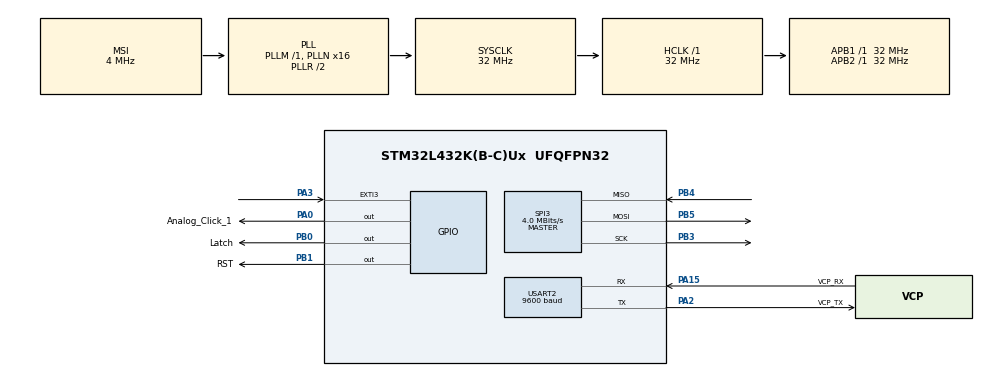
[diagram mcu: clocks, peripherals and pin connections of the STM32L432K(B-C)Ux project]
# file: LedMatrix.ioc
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Mcu.Family=STM32L4
Mcu.Name=STM32L432K(B-C)Ux
Mcu.Package=UFQFPN32
NVIC.EXTI3_IRQn=true\:0\:0\:false\:false\:true\:true\:true\:true
NVIC.PriorityGroup=NVIC_PRIORITYGROUP_4
NVIC.SPI3_IRQn=true\:2\:0\:true\:false\:true\:true\:true\:true
NVIC.TIM1_UP_TIM16_IRQn=true\:3\:0\:true\:false\:true\:true\:true\:true
NVIC.TIM6_DAC_IRQn=true\:1\:0\:true\:false\:true\:true\:true\:true
NVIC.TIM7_IRQn=true\:0\:0\:false\:false\:true\:true\:true\:true
NVIC.USART2_IRQn=true\:0\:0\:false\:false\:true\:true\:true\:true
PA0.GPIO_Label=Analog_Click_1
PA0.Signal=GPIO_Output
PA13\ (JTMS-SWDIO).GPIO_Label=SWDIO
PA13\ (JTMS-SWDIO).Mode=Serial_Wire
PA13\ (JTMS-SWDIO).Signal=SYS_JTMS-SWDIO
PA14\ (JTCK-SWCLK).GPIO_Label=SWCLK
PA14\ (JTCK-SWCLK).Mode=Serial_Wire
PA14\ (JTCK-SWCLK).Signal=SYS_JTCK-SWCLK
PA15\ (JTDI).GPIO_Label=VCP_RX
PA15\ (JTDI).Mode=Asynchronous
PA15\ (JTDI).Signal=USART2_RX
PA2.GPIO_Label=VCP_TX
PA2.Mode=Asynchronous
PA2.Signal=USART2_TX
PA3.GPIO_ModeDefaultEXTI=GPIO_MODE_IT_FALLING
PA3.Signal=GPXTI3
PB0.GPIO_Label=Latch
PB0.Signal=GPIO_Output
PB1.GPIO_Label=RST
PB1.Signal=GPIO_Output
PB3\ (JTDO-TRACESWO).Mode=Full_Duplex_Master
PB3\ (JTDO-TRACESWO).Signal=SPI3_SCK
PB4\ (NJTRST).Mode=Full_Duplex_Master
PB4\ (NJTRST).Signal=SPI3_MISO
PB5.Mode=Full_Duplex_Master
PB5.Signal=SPI3_MOSI
PC14-OSC32_IN\ (PC14).Mode=LSE-External-Oscillator
PC14-OSC32_IN\ (PC14).Signal=RCC_OSC32_IN
PC15-OSC32_OUT\ (PC15).Mode=LSE-External-Oscillator
PC15-OSC32_OUT\ (PC15).Signal=RCC_OSC32_OUT
ProjectManager.HeapSize=0x200
ProjectManager.StackSize=0x400
ProjectManager.TargetToolchain=STM32CubeIDE
RCC.AHBFreq_Value=32000000
RCC.APB1Freq_Value=32000000
RCC.APB1TimFreq_Value=32000000
RCC.APB2Freq_Value=32000000
RCC.APB2TimFreq_Value=32000000
RCC.CortexFreq_Value=32000000
RCC.HCLKFreq_Value=32000000
RCC.HSE_VALUE=8000000
RCC.HSI16_VALUE=16000000
RCC.HSI48_VALUE=48000000
RCC.HSI_VALUE=16000000
RCC.MSI_VALUE=4000000
RCC.PLLMUL=RCC_PLLMUL_4
RCC.PLLN=16
RCC.SYSCLKFreq_VALUE=32000000
RCC.SYSCLKSource=RCC_SYSCLKSOURCE_PLLCLK
RCC.VCOOutputFreq_Value=64000000
SPI3.BaudRatePrescaler=SPI_BAUDRATEPRESCALER_8
SPI3.CalculateBaudRate=4.0 MBits/s
SPI3.DataSize=SPI_DATASIZE_8BIT
SPI3.Direction=SPI_DIRECTION_2LINES
SPI3.Mode=SPI_MODE_MASTER
SPI3.VirtualType=VM_MASTER
TIM16.AutoReloadPreload=TIM_AUTORELOAD_PRELOAD_ENABLE
TIM16.Period=45714-1
TIM6.AutoReloadPreload=TIM_AUTORELOAD_PRELOAD_ENABLE
TIM6.Period=64000-1
TIM6.Prescaler=32-1
TIM7.AutoReloadPreload=TIM_AUTORELOAD_PRELOAD_ENABLE
TIM7.Period=64000-1
TIM7.Prescaler=1500
USART2.BaudRate=9600
USART2.VirtualMode-Asynchronous=VM_ASYNC
VP_TIM16_VS_ClockSourceINT.Mode=Enable_Timer
VP_TIM6_VS_ClockSourceINT.Mode=Enable_Timer
VP_TIM7_VS_ClockSourceINT.Mode=Enable_Timer
board=NUCLEO-L432KC

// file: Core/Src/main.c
/* USER CODE BEGIN Header */
/**
  ******************************************************************************
  * @file           : main.c
  * @brief          : Main program body
  ******************************************************************************
  * @attention
  *
  * Copyright (c) 2022 STMicroelectronics.
  * All rights reserved.
  *
  * This software is licensed under terms that can be found in the LICENSE file
  * in the root directory of this software component.
  * If no LICENSE file comes with this software, it is provided AS-IS.
  *
  ******************************************************************************
  */
/* USER CODE END Header */
#include "main.h"

/* USER CODE BEGIN Includes */

#include "ledFunctions.h"
/* USER CODE END Includes */

SPI_HandleTypeDef hspi3;

TIM_HandleTypeDef htim6;
TIM_HandleTypeDef htim7;
TIM_HandleTypeDef htim16;

UART_HandleTypeDef huart2;

/* USER CODE BEGIN PV */
//Inputbuffer
	uint8_t inputBuff[2];
	//Bufferlänge
	char text[200]="Enter text: ";
	//Eingabelänge Initialtext:
	int WordLen =12;
	//aktueller Index den der UART beschreibt:
	int wordIndex =0;

//Variables for Display
	//aktuell darzustellende Reihe
	int currentRow =0;
	//aktuelle Position der dargestellten Chars (wegen Laufschrift)
	int displayOffset=0;
	// enthält die Bitfolge für die Darstellung (inklusive Bitshifts)
	char displayOutput[3];
	//Index des aktuell darzustellenden ersten Buchstabens
	int letters=0;

//Variable debug mode
	int debugMode=1;
/* USER CODE END PV */

void SystemClock_Config(void);
static void MX_GPIO_Init(void);
static void MX_USART2_UART_Init(void);
static void MX_SPI3_Init(void);
static void MX_TIM16_Init(void);
static void MX_TIM6_Init(void);
static void MX_TIM7_Init(void);

int main(void)
{

  /* MCU Configuration--------------------------------------------------------*/

  /* Reset of all peripherals, Initializes the Flash interface and the Systick. */
  HAL_Init();

  /* USER CODE BEGIN Init */
/*  HAL_GPIO_WritePin(RST_GPIO_Port, RST_Pin, GPIO_PIN_SET);
 					 HAL_GPIO_WritePin(RST_GPIO_Port, RST_Pin, GPIO_PIN_RESET);
*/
  /* USER CODE END Init */

  /* Configure the system clock */
  SystemClock_Config();

  /* Initialize all configured peripherals */
  MX_GPIO_Init();
  MX_USART2_UART_Init();
  MX_SPI3_Init();
  MX_TIM16_Init();
  MX_TIM6_Init();
  MX_TIM7_Init();
  /* USER CODE BEGIN 2 */

  HAL_UART_Receive_IT(&huart2, inputBuff, 1);

  //Timer16 vorbereiten und starten, Timer ist so gesetzt, dass er mit ca 700Hz die Reihendarstellung updated
  //was zu einer effektiven Updaterate des Displays von 100Hz führt
  TIM16->EGR=1;
  __HAL_TIM_CLEAR_FLAG(&htim16,TIM_FLAG_UPDATE);

  HAL_TIM_Base_Start_IT(&htim16);

  //Timer6 starten, Timer iteriert Offset bzw. Buchstabenindex für Laufschriftdarstellung
  TIM6->EGR=1;
  		  __HAL_TIM_CLEAR_FLAG(&htim6,TIM_FLAG_UPDATE);

  HAL_TIM_Base_Start_IT(&htim6);

  /* USER CODE END 2 */

  /* Infinite loop */
  while (1)
  {

  }
}

void SystemClock_Config(void)
{
  RCC_OscInitTypeDef RCC_OscInitStruct = {0};
  RCC_ClkInitTypeDef RCC_ClkInitStruct = {0};

  /** Configure the main internal regulator output voltage
  */
  if (HAL_PWREx_ControlVoltageScaling(PWR_REGULATOR_VOLTAGE_SCALE1) != HAL_OK)
  {
    Error_Handler();
  }

  /** Configure LSE Drive Capability
  */
  HAL_PWR_EnableBkUpAccess();
  __HAL_RCC_LSEDRIVE_CONFIG(RCC_LSEDRIVE_LOW);

  /** Initializes the RCC Oscillators according to the specified parameters
  * in the RCC_OscInitTypeDef structure.
  */
  RCC_OscInitStruct.OscillatorType = RCC_OSCILLATORTYPE_LSE|RCC_OSCILLATORTYPE_MSI;
  RCC_OscInitStruct.LSEState = RCC_LSE_ON;
  RCC_OscInitStruct.MSIState = RCC_MSI_ON;
  RCC_OscInitStruct.MSICalibrationValue = 0;
  RCC_OscInitStruct.MSIClockRange = RCC_MSIRANGE_6;
  RCC_OscInitStruct.PLL.PLLState = RCC_PLL_ON;
  RCC_OscInitStruct.PLL.PLLSource = RCC_PLLSOURCE_MSI;
  RCC_OscInitStruct.PLL.PLLM = 1;
  RCC_OscInitStruct.PLL.PLLN = 16;
  RCC_OscInitStruct.PLL.PLLP = RCC_PLLP_DIV7;
  RCC_OscInitStruct.PLL.PLLQ = RCC_PLLQ_DIV2;
  RCC_OscInitStruct.PLL.PLLR = RCC_PLLR_DIV2;
  if (HAL_RCC_OscConfig(&RCC_OscInitStruct) != HAL_OK)
  {
    Error_Handler();
  }

  /** Initializes the CPU, AHB and APB buses clocks
  */
  RCC_ClkInitStruct.ClockType = RCC_CLOCKTYPE_HCLK|RCC_CLOCKTYPE_SYSCLK
                              |RCC_CLOCKTYPE_PCLK1|RCC_CLOCKTYPE_PCLK2;
  RCC_ClkInitStruct.SYSCLKSource = RCC_SYSCLKSOURCE_PLLCLK;
  RCC_ClkInitStruct.AHBCLKDivider = RCC_SYSCLK_DIV1;
  RCC_ClkInitStruct.APB1CLKDivider = RCC_HCLK_DIV1;
  RCC_ClkInitStruct.APB2CLKDivider = RCC_HCLK_DIV1;

  if (HAL_RCC_ClockConfig(&RCC_ClkInitStruct, FLASH_LATENCY_1) != HAL_OK)
  {
    Error_Handler();
  }

  /** Enable MSI Auto calibration
  */
  HAL_RCCEx_EnableMSIPLLMode();
}

static void MX_SPI3_Init(void)
{

  /* SPI3 parameter configuration*/
  hspi3.Instance = SPI3;
  hspi3.Init.Mode = SPI_MODE_MASTER;
  hspi3.Init.Direction = SPI_DIRECTION_2LINES;
  hspi3.Init.DataSize = SPI_DATASIZE_8BIT;
  hspi3.Init.CLKPolarity = SPI_POLARITY_LOW;
  hspi3.Init.CLKPhase = SPI_PHASE_1EDGE;
  hspi3.Init.NSS = SPI_NSS_SOFT;
  hspi3.Init.BaudRatePrescaler = SPI_BAUDRATEPRESCALER_8;
  hspi3.Init.FirstBit = SPI_FIRSTBIT_MSB;
  hspi3.Init.TIMode = SPI_TIMODE_DISABLE;
  hspi3.Init.CRCCalculation = SPI_CRCCALCULATION_DISABLE;
  hspi3.Init.CRCPolynomial = 7;
  hspi3.Init.CRCLength = SPI_CRC_LENGTH_DATASIZE;
  hspi3.Init.NSSPMode = SPI_NSS_PULSE_ENABLE;
  if (HAL_SPI_Init(&hspi3) != HAL_OK)
  {
    Error_Handler();
  }

}

static void MX_TIM6_Init(void)
{

  TIM_MasterConfigTypeDef sMasterConfig = {0};

  htim6.Instance = TIM6;
  htim6.Init.Prescaler = 32-1;
  htim6.Init.CounterMode = TIM_COUNTERMODE_UP;
  htim6.Init.Period = 64000-1;
  htim6.Init.AutoReloadPreload = TIM_AUTORELOAD_PRELOAD_ENABLE;
  if (HAL_TIM_Base_Init(&htim6) != HAL_OK)
  {
    Error_Handler();
  }
  sMasterConfig.MasterOutputTrigger = TIM_TRGO_RESET;
  sMasterConfig.MasterSlaveMode = TIM_MASTERSLAVEMODE_DISABLE;
  if (HAL_TIMEx_MasterConfigSynchronization(&htim6, &sMasterConfig) != HAL_OK)
  {
    Error_Handler();
  }

}

static void MX_TIM7_Init(void)
{

  TIM_MasterConfigTypeDef sMasterConfig = {0};

  htim7.Instance = TIM7;
  htim7.Init.Prescaler = 1500;
  htim7.Init.CounterMode = TIM_COUNTERMODE_UP;
  htim7.Init.Period = 64000-1;
  htim7.Init.AutoReloadPreload = TIM_AUTORELOAD_PRELOAD_ENABLE;
  if (HAL_TIM_Base_Init(&htim7) != HAL_OK)
  {
    Error_Handler();
  }
  sMasterConfig.MasterOutputTrigger = TIM_TRGO_RESET;
  sMasterConfig.MasterSlaveMode = TIM_MASTERSLAVEMODE_DISABLE;
  if (HAL_TIMEx_MasterConfigSynchronization(&htim7, &sMasterConfig) != HAL_OK)
  {
    Error_Handler();
  }

}

static void MX_TIM16_Init(void)
{

  htim16.Instance = TIM16;
  htim16.Init.Prescaler = 0;
  htim16.Init.CounterMode = TIM_COUNTERMODE_UP;
  htim16.Init.Period = 45714-1;
  htim16.Init.ClockDivision = TIM_CLOCKDIVISION_DIV1;
  htim16.Init.RepetitionCounter = 0;
  htim16.Init.AutoReloadPreload = TIM_AUTORELOAD_PRELOAD_ENABLE;
  if (HAL_TIM_Base_Init(&htim16) != HAL_OK)
  {
    Error_Handler();
  }

}

static void MX_USART2_UART_Init(void)
{

  huart2.Instance = USART2;
  huart2.Init.BaudRate = 9600;
  huart2.Init.WordLength = UART_WORDLENGTH_8B;
  huart2.Init.StopBits = UART_STOPBITS_1;
  huart2.Init.Parity = UART_PARITY_NONE;
  huart2.Init.Mode = UART_MODE_TX_RX;
  huart2.Init.HwFlowCtl = UART_HWCONTROL_NONE;
  huart2.Init.OverSampling = UART_OVERSAMPLING_16;
  huart2.Init.OneBitSampling = UART_ONE_BIT_SAMPLE_DISABLE;
  huart2.AdvancedInit.AdvFeatureInit = UART_ADVFEATURE_NO_INIT;
  if (HAL_UART_Init(&huart2) != HAL_OK)
  {
    Error_Handler();
  }

}

static void MX_GPIO_Init(void)
{
  GPIO_InitTypeDef GPIO_InitStruct = {0};

  /* GPIO Ports Clock Enable */
  __HAL_RCC_GPIOC_CLK_ENABLE();
  __HAL_RCC_GPIOA_CLK_ENABLE();
  __HAL_RCC_GPIOB_CLK_ENABLE();

  /*Configure GPIO pin Output Level */
  HAL_GPIO_WritePin(Analog_Click_1_GPIO_Port, Analog_Click_1_Pin, GPIO_PIN_RESET);

  /*Configure GPIO pin Output Level */
  HAL_GPIO_WritePin(GPIOB, Latch_Pin|RST_Pin, GPIO_PIN_RESET);

  /*Configure GPIO pin : Analog_Click_1_Pin */
  GPIO_InitStruct.Pin = Analog_Click_1_Pin;
  GPIO_InitStruct.Mode = GPIO_MODE_OUTPUT_PP;
  GPIO_InitStruct.Pull = GPIO_NOPULL;
  GPIO_InitStruct.Speed = GPIO_SPEED_FREQ_LOW;
  HAL_GPIO_Init(Analog_Click_1_GPIO_Port, &GPIO_InitStruct);

  /*Configure GPIO pin : PA3 */
  GPIO_InitStruct.Pin = GPIO_PIN_3;
  GPIO_InitStruct.Mode = GPIO_MODE_IT_FALLING;
  GPIO_InitStruct.Pull = GPIO_NOPULL;
  HAL_GPIO_Init(GPIOA, &GPIO_InitStruct);

  /*Configure GPIO pins : Latch_Pin RST_Pin */
  GPIO_InitStruct.Pin = Latch_Pin|RST_Pin;
  GPIO_InitStruct.Mode = GPIO_MODE_OUTPUT_PP;
  GPIO_InitStruct.Pull = GPIO_NOPULL;
  GPIO_InitStruct.Speed = GPIO_SPEED_FREQ_LOW;
  HAL_GPIO_Init(GPIOB, &GPIO_InitStruct);

  /* EXTI interrupt init*/
  HAL_NVIC_SetPriority(EXTI3_IRQn, 0, 0);
  HAL_NVIC_EnableIRQ(EXTI3_IRQn);

}

/* USER CODE BEGIN 4 */

void HAL_UART_RxCpltCallback(UART_HandleTypeDef *huart){

//Bestätigen des Textinputs via 'Enter'
		if((inputBuff[0]=='\r')||(inputBuff[0]=='\n')){

			text[wordIndex]=' ';
			WordLen= wordIndex+1;
			currentRow=0;
			wordIndex=0;
			debugMode=0;
//Zeichenweises Einlesen von Textinput
		}else{
			text[wordIndex]= inputBuff[0];
			wordIndex++;
		}

	HAL_UART_Receive_IT(&huart2, inputBuff, 1);
}

/* USER CODE END 4 */

void Error_Handler(void)
{
  __disable_irq();
  while (1)
  {
  }
}
